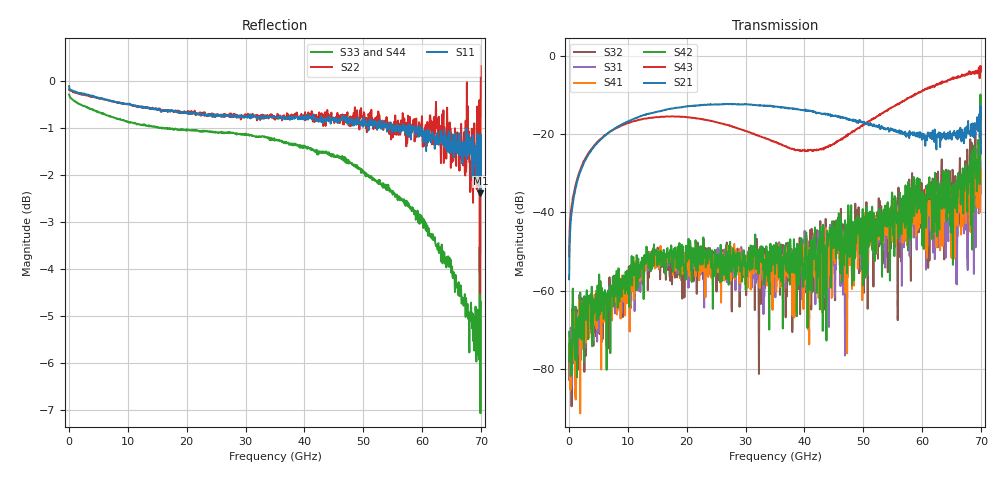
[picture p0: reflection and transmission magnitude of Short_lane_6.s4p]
! 4/13/2026 10:32:17 AM
! C:\ANRITSUVNA\DATA\SARA\2026-04-13 T5 MZDRV\DEEMB STRUCTURES\SHORT_1.S4P
! CHANNEL.1
! TR.MEASUREMENT
! CORRECTED.DATA
! RF.CORRECTION: FULL.FOUR.PORT.CAL.PORT.1.2.3.4
! AVERAGING.OFF
! IF.BANDWIDTH: 1KHZ
! SWEEPTYPE:  FREQ.SWEEP(Linear)
! Reference Plane Port Info
! PORT:  PORT1  PORT2  PORT3  PORT4
! DISTANCE:  0  m  0  m  0  m  0  m
! TIME:  0  s  0  s  0  s  0  s
! PHASE.OFFSET:  0 °  0 °  0 °  0 °
! LOSS:  0  dB  0  dB  0  dB  0  dB
! REF.LOSS:  0  dB  0  dB  0  dB  0  dB
! REF.FREQ:  0  Hz  0  Hz  0  Hz  0  Hz
! Power Info
! POWER:  -20  dBm  -20  dBm  -20  dBm  -20  dBm
! EFF.POWER:  -20  dBm  -20  dBm  -20  dBm  -20  dBm
! SOURCE.ATTEN:  0  dB  0  dB  0  dB  0  dB
! TEST.ATTEN:  0  dB  0  dB  0  dB  0  dB
# HZ S DB R 50.0
! FREQ.HZ  S11DB  S11A  S12DB  S12A  S13DB  S13A  S14DB  S14A
!  S21DB  S21A  S22DB  S22A  S23DB  S23A  S24DB  S24A
!  S31DB  S31A  S32DB  S32A  S33DB  S33A  S34DB  S34A
!  S41DB  S41A  S42DB  S42A  S43DB  S43A  S44DB  S44A
!; PortSelection: Port_1234
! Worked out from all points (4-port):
!   1001 points, 10 MHz to 70 GHz, reference 50 ohm
!   strongest paths, dB at 10 MHz, 17.51 GHz, 35.01 GHz, 52.5 GHz, 70 GHz:
!     S21: -57.1, -13.5, -12.9, -18.0, -24.9
!     S43: -51.3, -15.5, -22.0, -15.4, -2.8
!     S42: -70.5, -50.2, -55.7, -39.9, -22.3
!     S41: -77.5, -50.9, -54.9, -46.9, -31.8
!     S31: -79.0, -52.7, -55.6, -42.0, -35.1
!     S32: -73.7, -58.4, -56.0, -51.8, -20.1
!   lowest |S11| = -2.4 dB at 69.93 GHz (marker M1), VSWR 7.32, Z = 105 + j160 ohm
!   |S11| at or under -10 dB: nowhere
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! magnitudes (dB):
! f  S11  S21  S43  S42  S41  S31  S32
! 10 MHz  -0.1  -57.1  -51.3  -70.5  -77.5  -79.0  -73.7
! 2.88 GHz  -0.3  -26.3  -25.9  -67.4  -73.2  -64.9  -76.5
! 12.96 GHz  -0.6  -15.1  -16.0  -53.0  -54.8  -52.8  -52.2
! 43.47 GHz  -0.8  -14.7  -23.4  -52.3  -52.2  -50.8  -46.5
! 65.87 GHz  -1.5  -19.6  -5.5  -31.8  -39.1  -35.4  -38.0
! 69.93 GHz  -2.4  -12.8  -4.3  -9.9  -29.1  -27.5  -19.4
! 70 GHz  -1.1  -24.9  -2.8  -22.3  -31.8  -35.1  -20.1
